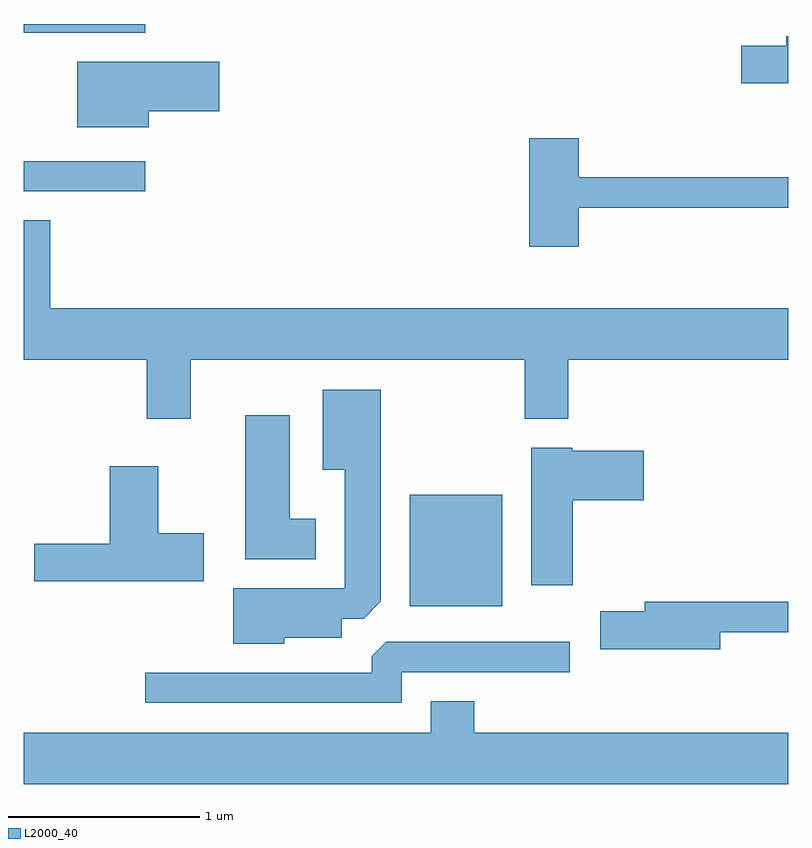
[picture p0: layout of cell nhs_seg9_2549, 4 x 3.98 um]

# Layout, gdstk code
import gdstk
lib = gdstk.Library(unit=1e-6, precision=1e-09)
def R(c, l, rs):  # rectangles x0, y0, x1, y1
    for r in rs: c.add(gdstk.rectangle(r[:2], r[2:], *l))
def P(c, l, *ps):  # polygons
    for p in ps: c.add(gdstk.Polygon(p, *l))
L2000_40 = (2000, 40)

nhs_seg9_2549 = lib.new_cell('nhs_seg9_2549')
R(nhs_seg9_2549, L2000_40, [(261.631,2019.386,262.114,2019.969), (259.611,2021.556,260.248,2021.714), (259.611,2022.386,260.248,2022.432)])
P(nhs_seg9_2549, L2000_40, [(263.611,2022.369),(263.601,2022.369),(263.601,2022.319),(263.366,2022.319),(263.366,2022.121),(263.611,2022.121)],
  [(260.264,2021.976),(260.634,2021.976),(260.634,2022.234),(259.891,2022.234),(259.891,2021.891),(260.264,2021.891)],
  [(262.514,2021.471),(263.611,2021.471),(263.611,2021.629),(262.514,2021.629),(262.514,2021.834),(262.256,2021.834),(262.256,2021.266),(262.514,2021.266)],
  [(260.484,2020.676),(262.231,2020.676),(262.231,2020.366),(262.459,2020.366),(262.459,2020.676),(263.611,2020.676),(263.611,2020.944),(259.749,2020.944),(259.749,2021.404),(259.611,2021.404),(259.611,2020.676),(260.256,2020.676),(260.256,2020.366),(260.484,2020.366)],
  [(260.974,2019.221),(261.274,2019.221),(261.274,2019.321),(261.389,2019.321),(261.479,2019.412),(261.479,2020.519),(261.176,2020.519),(261.176,2020.101),(261.291,2020.101),(261.291,2019.479),(260.706,2019.479),(260.706,2019.191),(260.974,2019.191)],
  [(261.139,2019.844),(261.004,2019.844),(261.004,2020.384),(260.771,2020.384),(260.771,2019.631),(261.139,2019.631)],
  [(262.484,2019.941),(262.854,2019.941),(262.854,2020.199),(262.48,2020.199),(262.48,2020.214),(262.266,2020.214),(262.266,2019.496),(262.484,2019.496)],
  [(260.554,2019.769),(260.314,2019.769),(260.314,2020.119),(260.061,2020.119),(260.061,2019.714),(259.666,2019.714),(259.666,2019.516),(260.554,2019.516)],
  [(263.254,2019.251),(263.611,2019.251),(263.611,2019.409),(262.861,2019.409),(262.861,2019.359),(262.626,2019.359),(262.626,2019.161),(263.254,2019.161)],
  [(261.589,2019.041),(262.468,2019.041),(262.468,2019.199),(261.507,2019.199),(261.431,2019.124),(261.431,2019.039),(260.248,2019.039),(260.248,2018.881),(261.589,2018.881)],
  [(263.611,2018.724),(261.969,2018.724),(261.969,2018.889),(261.741,2018.889),(261.741,2018.724),(259.611,2018.724),(259.611,2018.456),(263.611,2018.456)])

lib.write_gds('nhs_seg9_2549.gds')
